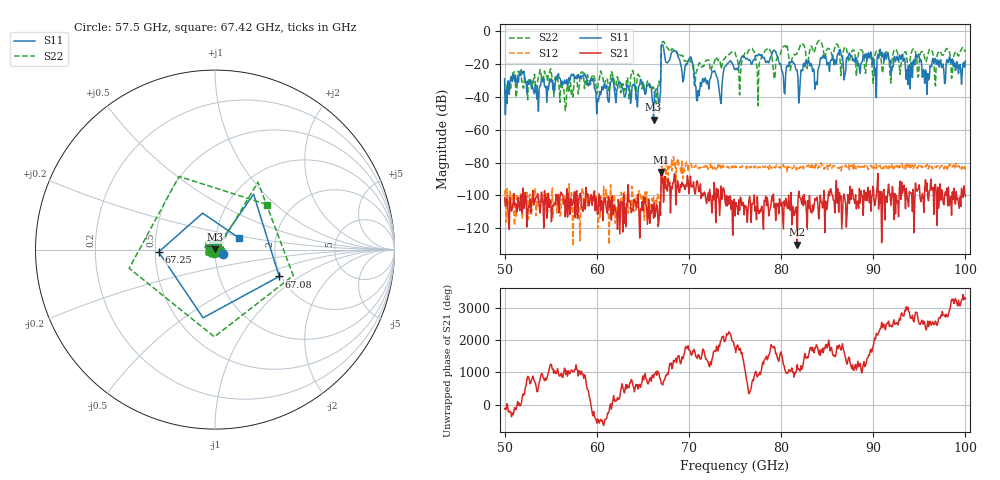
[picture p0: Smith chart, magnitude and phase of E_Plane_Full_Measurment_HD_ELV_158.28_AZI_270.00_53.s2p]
! 11/26/2026 3:43:42 PM
! C:\ANRITSUVNA\TEMP\TEMP.S2P
! CHANNEL.1
! TR.MEASUREMENT
! RAW.DATA
# HZ S RI R 50.0
! FREQ.HZ  S11RE  S11IM  S21RE  S21IM  S12RE  S12IM  S22RE  S22IM
!; PortSelection: Port_12
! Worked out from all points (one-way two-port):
!   601 points, 50 GHz to 100 GHz, reference 50 ohm
!   highest |S21| = -85.78 dB at 67 GHz (marker M1); lowest = -130.0 dB at 81.75 GHz (marker M2)
!   lowest |S11| = -53.8 dB at 66.17 GHz (marker M3), VSWR 1.00, Z = 50.1 + j0.149 ohm
!   |S11| at or under -10 dB: start of sweep to 67 GHz; 67.25 GHz to end of sweep
!   |S22| runs from -48.3 to -5.6 dB; largest |S21 - S12| = 0.00016
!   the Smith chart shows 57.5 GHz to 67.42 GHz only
!   S11 on the Smith chart (normalised r, x): 57.5 GHz: 1.09, -0.05; 67.08 GHz: 1.95, -0.69; 67.25 GHz: 0.52, -0.02; 67.42 GHz: 1.29, +0.17
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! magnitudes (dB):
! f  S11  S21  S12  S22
! 50 GHz  -28.9  -101.5  -99.5  -35.6
! 51.67 GHz  -26.3  -109.4  -103.2  -23.2
! 57.5 GHz  -26.1  -102.0  -106.1  -34.6
! 58.42 GHz  -27.2  -107.7  -95.2  -24.8
! 60.17 GHz  -42.7  -107.7  -120.0  -30.4
! 66.17 GHz  -53.8  -113.9  -101.1  -34.0
! 66.67 GHz  -41.5  -119.0  -99.7  -31.6
! 67 GHz  -8.5  -85.8  -81.7  -7.0
! 67.08 GHz  -8.2  -92.3  -81.8  -6.8
! 67.25 GHz  -10.1  -104.1  -83.4  -6.2
! 67.42 GHz  -16.6  -88.4  -79.3  -8.3
! 70.25 GHz  -15.9  -94.7  -80.6  -18.8
! 70.92 GHz  -42.4  -91.1  -82.0  -23.2
! 75 GHz  -23.3  -112.6  -82.0  -12.9
! 79.25 GHz  -11.5  -107.4  -83.0  -28.9
! 81.75 GHz  -23.5  -130.0  -82.6  -13.1
! 83.42 GHz  -24.4  -105.8  -82.9  -10.8
! 91.67 GHz  -16.6  -93.2  -83.6  -15.2
! 93.75 GHz  -32.5  -103.1  -80.3  -21.3
! 94.83 GHz  -15.1  -96.3  -83.3  -27.9
! 95.83 GHz  -38.4  -92.4  -81.2  -16.4
! 100 GHz  -18.0  -100.6  -84.5  -12.5
